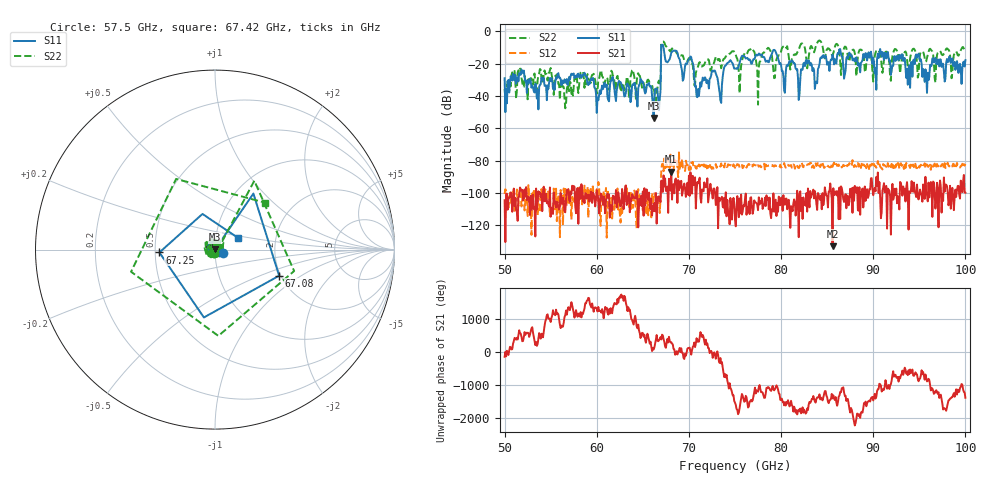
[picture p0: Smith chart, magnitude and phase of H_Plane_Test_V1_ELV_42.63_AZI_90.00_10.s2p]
! 11/27/2026 8:07:37 AM
! C:\ANRITSUVNA\TEMP\TEMP.S2P
! CHANNEL.1
! TR.MEASUREMENT
! RAW.DATA
# HZ S RI R 50.0
! FREQ.HZ  S11RE  S11IM  S21RE  S21IM  S12RE  S12IM  S22RE  S22IM
!; PortSelection: Port_12
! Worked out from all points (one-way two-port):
!   601 points, 50 GHz to 100 GHz, reference 50 ohm
!   highest |S21| = -86.82 dB at 68.08 GHz (marker M1); lowest = -133.0 dB at 85.58 GHz (marker M2)
!   lowest |S11| = -53.7 dB at 66.17 GHz (marker M3), VSWR 1.00, Z = 50.1 + j0.162 ohm
!   |S11| at or under -10 dB: start of sweep to 67 GHz; 67.24 GHz to end of sweep
!   |S22| runs from -47.6 to -5.6 dB; largest |S21 - S12| = 0.00017
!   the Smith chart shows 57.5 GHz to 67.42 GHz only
!   S11 on the Smith chart (normalised r, x): 57.5 GHz: 1.09, -0.04; 67.08 GHz: 1.96, -0.67; 67.25 GHz: 0.53, -0.02; 67.42 GHz: 1.29, +0.17
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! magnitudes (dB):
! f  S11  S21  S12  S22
! 50 GHz  -29.0  -104.5  -100.7  -35.7
! 57.5 GHz  -26.1  -95.8  -106.7  -34.4
! 58.42 GHz  -27.1  -97.1  -107.1  -24.6
! 60.17 GHz  -42.7  -103.8  -93.3  -30.2
! 66.17 GHz  -53.7  -111.3  -103.0  -33.8
! 66.67 GHz  -41.7  -102.3  -105.2  -31.6
! 67.08 GHz  -8.3  -92.7  -82.2  -6.8
! 67.25 GHz  -10.2  -89.2  -86.6  -6.3
! 67.42 GHz  -16.8  -91.0  -84.7  -8.3
! 68.08 GHz  -13.3  -86.8  -81.3  -11.3
! 70.25 GHz  -16.0  -94.5  -81.3  -18.8
! 70.92 GHz  -40.7  -93.3  -82.2  -22.9
! 75 GHz  -23.1  -116.7  -84.4  -13.1
! 79.25 GHz  -11.4  -111.7  -83.7  -29.0
! 80.25 GHz  -27.9  -101.4  -83.4  -9.3
! 83.42 GHz  -24.6  -100.7  -83.2  -10.9
! 85.58 GHz  -14.4  -133.0  -83.8  -15.0
! 91.67 GHz  -16.6  -97.9  -83.8  -15.3
! 93.75 GHz  -33.0  -100.6  -82.5  -21.7
! 94.83 GHz  -14.9  -101.2  -84.0  -28.6
! 95.83 GHz  -38.1  -101.1  -82.5  -16.4
! 100 GHz  -17.8  -99.9  -82.1  -12.6
